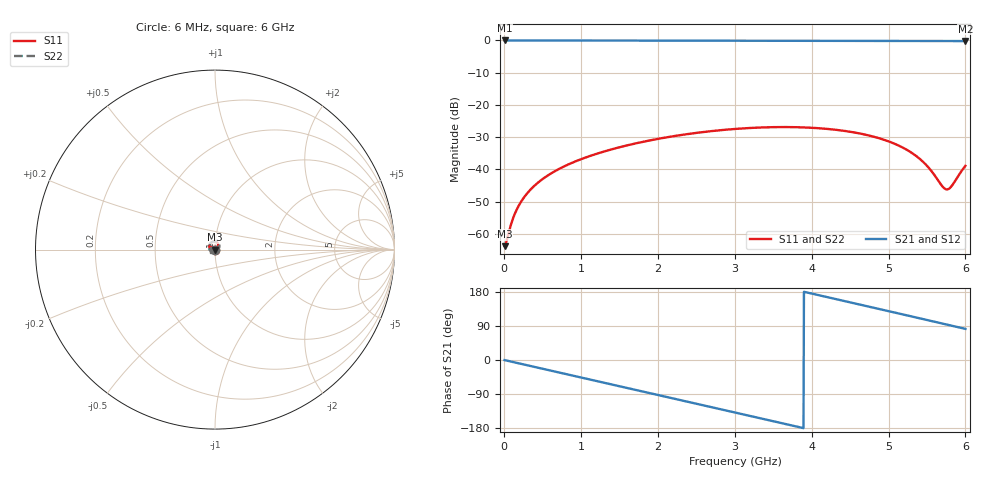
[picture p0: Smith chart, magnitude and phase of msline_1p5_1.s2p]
! TOUCHSTONE file generated by CST MICROWAVE STUDIO
! Date and time: Sat Dec 27 11:41:10 2025
! Project name: msline.cst
! Parameters = {t=0.018; C=0; L=20; Lind=0; R=0; W=20; er=4.6; h=0.8; tangd=0; tangdelta=0.01; ws=1.5}
! Header version: 2024
! Port assignment regex: !\s*Touchstone port\s*([0-9]+)\s*=\s*(CST MWS port|CST DES external port|CST DES block port)\s*(.+)\s* \(\"(.*)\"\)(\s*mode\s*([0-9]+))?.*
! Touchstone port assignment:
! Touchstone port 1 = CST MWS port 1 ("")
! Touchstone port 2 = CST MWS port 2 ("")
# GHz S MA R 50
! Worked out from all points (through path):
!   1000 points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, 6 MHz to 6 GHz, reference 50 ohm
!   highest |S21| = -0.02 dB at 6 MHz (marker M1); lowest = -0.2 dB at 6 GHz (marker M2)
!   group delay of S21, straight-line fit = 128 ps
!   lowest |S11| = -63.8 dB at 6 MHz (marker M3), VSWR 1.00, Z = 49.9 - j0.00805 ohm
!   |S11| at or under -10 dB: start of sweep to end of sweep
!   |S22| runs from -63.8 to -26.9 dB; largest |S21 - S12| = 1.7e-06
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0.006  0.0006452 -172.8  0.9978 -0.3  0.9978 -0.3  0.0006452 -7.7
0.036  0.0008145 -143.6  0.9978 -1.7  0.9978 -1.7  0.0008145 -39.7
0.108  0.001642 -118.5  0.9978 -5.0  0.9978 -5.0  0.001642 -71.5
0.156  0.002278 -114.3  0.9978 -7.2  0.9978 -7.2  0.002278 -80.1
0.228  0.003261 -113.0  0.9977 -10.5  0.9977 -10.5  0.003261 -88.1
0.324  0.004596 -114.6  0.9976 -15.0  0.9976 -15.0  0.004596 -95.3
0.606  0.008601 -125.3  0.9971 -28.0  0.9971 -28.0  0.008601 -110.8
1.008  0.01451 -143.6  0.996 -46.6  0.996 -46.6  0.01451 -129.6
1.518  0.02232 -167.2  0.9938 -70.2  0.9938 -70.2  0.02232 -153.1
2.004  0.02979 170.8  0.9912 -92.6  0.9912 -92.6  0.02979 -176.0
2.49  0.03668 149.6  0.9884 -115.0  0.9884 -115.0  0.03668 160.5
3.006  0.04239 127.6  0.9855 -138.8  0.9855 -138.8  0.04239 134.8
3.516  0.04522 106.5  0.9831 -162.3  0.9831 -162.3  0.04522 108.9
4.002  0.04416 86.8  0.9813 175.3  0.9813 175.3  0.04416 83.8
4.488  0.03855 67.6  0.9802 152.8  0.9802 152.8  0.03855 58.0
5.004  0.0271 49.0  0.9793 128.8  0.9793 128.8  0.0271 28.6
5.22  0.0207 43.0  0.9789 118.7  0.9789 118.7  0.0207 14.4
5.4  0.01479 40.9  0.9786 110.3  0.9786 110.3  0.01479 -0.3
5.514  0.01091 43.3  0.9783 105.0  0.9783 105.0  0.01091 -13.4
5.748  0.004915 90.8  0.9775 94.0  0.9775 94.0  0.004915 -82.8
5.814  0.005389 118.3  0.9773 90.9  0.9773 90.9  0.005389 -116.6
6  0.01136 149.7  0.9764 82.1  0.9764 82.1  0.01136 -165.5
